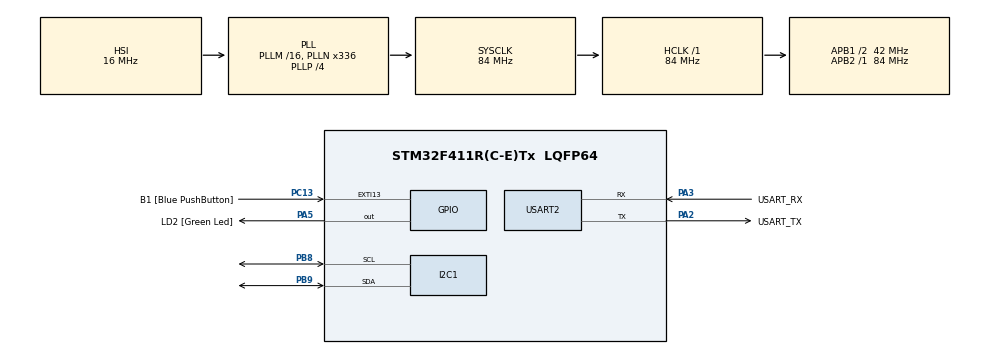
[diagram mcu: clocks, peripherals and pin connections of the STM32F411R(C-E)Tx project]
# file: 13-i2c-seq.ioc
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Mcu.Family=STM32F4
PC15-OSC32_OUT.Mode=LSE-External-Oscillator
RCC.CortexFreq_Value=84000000
NVIC.I2C1_EV_IRQn=true\:0\:0\:false\:false\:true\:true\:true
PC13-ANTI_TAMP.GPIO_Label=B1 [Blue PushButton]
PA14.GPIO_Label=TCK
PH1\ -\ OSC_OUT.Mode=HSE-External-Clock-Source
RCC.APB1CLKDivider=RCC_HCLK_DIV2
PC14-OSC32_IN.Signal=RCC_OSC32_IN
RCC.SYSCLKSource=RCC_SYSCLKSOURCE_PLLCLK
ProjectManager.StackSize=0x400
PA13.Signal=SYS_JTMS-SWDIO
PA3.Mode=Asynchronous
PH0\ -\ OSC_IN.Mode=HSE-External-Clock-Source
PH0\ -\ OSC_IN.Signal=RCC_OSC_IN
ProjectManager.TargetToolchain=STM32CubeIDE
I2C1.I2C_Mode=I2C_Fast
RCC.HCLKFreq_Value=84000000
PB9.Mode=I2C
RCC.APB2TimFreq_Value=84000000
PC15-OSC32_OUT.Signal=RCC_OSC32_OUT
RCC.AHBFreq_Value=84000000
PA5.Signal=GPIO_Output
RCC.HSE_VALUE=8000000
PH1\ -\ OSC_OUT.Signal=RCC_OSC_OUT
board=NUCLEO-F411RE
PC13-ANTI_TAMP.Signal=GPXTI13
RCC.VCOOutputFreq_Value=336000000
RCC.APB2Freq_Value=84000000
PC14-OSC32_IN.Mode=LSE-External-Oscillator
PA14.Mode=Serial_Wire
PA13.Mode=Serial_Wire
NVIC.I2C1_ER_IRQn=true\:0\:0\:false\:false\:true\:true\:true
Mcu.Name=STM32F411R(C-E)Tx
PA2.Signal=USART2_TX
PA13.GPIO_Label=TMS
RCC.FLatency-AdvancedSettings=FLASH_LATENCY_2
RCC.48MHZClocksFreq_Value=84000000
PB3.Signal=SYS_JTDO-SWO
RCC.SYSCLKFreq_VALUE=84000000
Mcu.Package=LQFP64
PB9.Signal=I2C1_SDA
PA5.GPIO_Label=LD2 [Green Led]
USART2.VirtualMode=VM_ASYNC
PC13-ANTI_TAMP.GPIO_ModeDefaultEXTI=GPIO_MODE_IT_FALLING
PA2.GPIO_Label=USART_TX
PA14.Signal=SYS_JTCK-SWCLK
ProjectManager.HeapSize=0x200
RCC.HSI_VALUE=16000000
RCC.PLLP=RCC_PLLP_DIV4
NVIC.PriorityGroup=NVIC_PRIORITYGROUP_0
PB8.Mode=I2C
RCC.PLLN=336
RCC.APB1TimFreq_Value=84000000
PA2.Mode=Asynchronous
PB8.Signal=I2C1_SCL
RCC.APB1Freq_Value=42000000
PA3.GPIO_Label=USART_RX
PA3.Signal=USART2_RX
PB3.GPIO_Label=SWO

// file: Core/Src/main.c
/* USER CODE BEGIN Header */
/**
  ******************************************************************************
  * @file           : main.c
  * @brief          : Main program body
  ******************************************************************************
  * @attention
  *
  * <h2><center>&copy; Copyright (c) 2021 STMicroelectronics.
  * All rights reserved.</center></h2>
  *
  * This software component is licensed by ST under BSD 3-Clause license,
  * the "License"; You may not use this file except in compliance with the
  * License. You may obtain a copy of the License at:
  *                        opensource.org/licenses/BSD-3-Clause
  *
  ******************************************************************************
  */
/* USER CODE END Header */
#include "main.h"

/* USER CODE BEGIN PD */
#define EEPROMAddr 0b10100000
/* USER CODE END PD */

I2C_HandleTypeDef hi2c1;

UART_HandleTypeDef huart2;

/* USER CODE BEGIN PV */
uint8_t I2CReadBuffer[4];
uint8_t I2CReadTrigger =0;

/* USER CODE END PV */

void SystemClock_Config(void);
static void MX_GPIO_Init(void);
static void MX_USART2_UART_Init(void);
static void MX_I2C1_Init(void);
/* USER CODE BEGIN PFP */
void ReadEEPROMSeq(uint16_t MemAddr,uint8_t *Rdata,uint16_t len,uint8_t *Trigger);
/* USER CODE END PFP */

int main(void)
{

  /* MCU Configuration--------------------------------------------------------*/

  /* Reset of all peripherals, Initializes the Flash interface and the Systick. */
  HAL_Init();

  /* Configure the system clock */
  SystemClock_Config();

  /* Initialize all configured peripherals */
  MX_GPIO_Init();
  MX_USART2_UART_Init();
  MX_I2C1_Init();

  /* Infinite loop */
  /* USER CODE BEGIN WHILE */
  while (1)
  {
	  ReadEEPROMSeq(0x2C, I2CReadBuffer, 4, &I2CReadTrigger);
    /* USER CODE END WHILE */

  }
}

void SystemClock_Config(void)
{
  RCC_OscInitTypeDef RCC_OscInitStruct = {0};
  RCC_ClkInitTypeDef RCC_ClkInitStruct = {0};

  /** Configure the main internal regulator output voltage
  */
  __HAL_RCC_PWR_CLK_ENABLE();
  __HAL_PWR_VOLTAGESCALING_CONFIG(PWR_REGULATOR_VOLTAGE_SCALE1);
  /** Initializes the RCC Oscillators according to the specified parameters
  * in the RCC_OscInitTypeDef structure.
  */
  RCC_OscInitStruct.OscillatorType = RCC_OSCILLATORTYPE_HSI;
  RCC_OscInitStruct.HSIState = RCC_HSI_ON;
  RCC_OscInitStruct.HSICalibrationValue = RCC_HSICALIBRATION_DEFAULT;
  RCC_OscInitStruct.PLL.PLLState = RCC_PLL_ON;
  RCC_OscInitStruct.PLL.PLLSource = RCC_PLLSOURCE_HSI;
  RCC_OscInitStruct.PLL.PLLM = 16;
  RCC_OscInitStruct.PLL.PLLN = 336;
  RCC_OscInitStruct.PLL.PLLP = RCC_PLLP_DIV4;
  RCC_OscInitStruct.PLL.PLLQ = 4;
  if (HAL_RCC_OscConfig(&RCC_OscInitStruct) != HAL_OK)
  {
    Error_Handler();
  }
  /** Initializes the CPU, AHB and APB buses clocks
  */
  RCC_ClkInitStruct.ClockType = RCC_CLOCKTYPE_HCLK|RCC_CLOCKTYPE_SYSCLK
                              |RCC_CLOCKTYPE_PCLK1|RCC_CLOCKTYPE_PCLK2;
  RCC_ClkInitStruct.SYSCLKSource = RCC_SYSCLKSOURCE_PLLCLK;
  RCC_ClkInitStruct.AHBCLKDivider = RCC_SYSCLK_DIV1;
  RCC_ClkInitStruct.APB1CLKDivider = RCC_HCLK_DIV2;
  RCC_ClkInitStruct.APB2CLKDivider = RCC_HCLK_DIV1;

  if (HAL_RCC_ClockConfig(&RCC_ClkInitStruct, FLASH_LATENCY_2) != HAL_OK)
  {
    Error_Handler();
  }
}

static void MX_I2C1_Init(void)
{

  hi2c1.Instance = I2C1;
  hi2c1.Init.ClockSpeed = 400000;
  hi2c1.Init.DutyCycle = I2C_DUTYCYCLE_2;
  hi2c1.Init.OwnAddress1 = 0;
  hi2c1.Init.AddressingMode = I2C_ADDRESSINGMODE_7BIT;
  hi2c1.Init.DualAddressMode = I2C_DUALADDRESS_DISABLE;
  hi2c1.Init.OwnAddress2 = 0;
  hi2c1.Init.GeneralCallMode = I2C_GENERALCALL_DISABLE;
  hi2c1.Init.NoStretchMode = I2C_NOSTRETCH_DISABLE;
  if (HAL_I2C_Init(&hi2c1) != HAL_OK)
  {
    Error_Handler();
  }

}

static void MX_USART2_UART_Init(void)
{

  huart2.Instance = USART2;
  huart2.Init.BaudRate = 115200;
  huart2.Init.WordLength = UART_WORDLENGTH_8B;
  huart2.Init.StopBits = UART_STOPBITS_1;
  huart2.Init.Parity = UART_PARITY_NONE;
  huart2.Init.Mode = UART_MODE_TX_RX;
  huart2.Init.HwFlowCtl = UART_HWCONTROL_NONE;
  huart2.Init.OverSampling = UART_OVERSAMPLING_16;
  if (HAL_UART_Init(&huart2) != HAL_OK)
  {
    Error_Handler();
  }

}

static void MX_GPIO_Init(void)
{
  GPIO_InitTypeDef GPIO_InitStruct = {0};

  /* GPIO Ports Clock Enable */
  __HAL_RCC_GPIOC_CLK_ENABLE();
  __HAL_RCC_GPIOH_CLK_ENABLE();
  __HAL_RCC_GPIOA_CLK_ENABLE();
  __HAL_RCC_GPIOB_CLK_ENABLE();

  /*Configure GPIO pin Output Level */
  HAL_GPIO_WritePin(LD2_GPIO_Port, LD2_Pin, GPIO_PIN_RESET);

  /*Configure GPIO pin : B1_Pin */
  GPIO_InitStruct.Pin = B1_Pin;
  GPIO_InitStruct.Mode = GPIO_MODE_IT_FALLING;
  GPIO_InitStruct.Pull = GPIO_NOPULL;
  HAL_GPIO_Init(B1_GPIO_Port, &GPIO_InitStruct);

  /*Configure GPIO pin : LD2_Pin */
  GPIO_InitStruct.Pin = LD2_Pin;
  GPIO_InitStruct.Mode = GPIO_MODE_OUTPUT_PP;
  GPIO_InitStruct.Pull = GPIO_NOPULL;
  GPIO_InitStruct.Speed = GPIO_SPEED_FREQ_LOW;
  HAL_GPIO_Init(LD2_GPIO_Port, &GPIO_InitStruct);

}

/* USER CODE BEGIN 4 */
void ReadEEPROMSeq(uint16_t MemAddr,uint8_t *Rdata,uint16_t len,uint8_t *Trigger)
{
	static enum
	{
		State_Idle,
		State_address_frame,
		State_address_frame_wait,
		State_dataFrame,
		State_dataFrame_wait
	} State = State_Idle;
	switch(State)
	{
	case State_Idle:
		if(*Trigger)
		{
			State = State_address_frame;
		}
		break;
	case State_address_frame:
	{
		static uint8_t MemoryAddress[2];
		MemoryAddress[0] = (MemAddr>>8) & 0xFF;
		MemoryAddress[1] = (MemAddr) & 0xFF;
		HAL_I2C_Master_Seq_Transmit_IT(&hi2c1, EEPROMAddr, MemoryAddress, 2, I2C_FIRST_AND_NEXT_FRAME);
		State = State_address_frame_wait;
	}

		break;
	case State_address_frame_wait:
		if(hi2c1.State == HAL_I2C_STATE_READY)
		{
			State = State_dataFrame;
		}
	break;

	case State_dataFrame:
		HAL_I2C_Master_Seq_Receive_IT(&hi2c1, EEPROMAddr, Rdata, len, I2C_LAST_FRAME);
		State = State_dataFrame_wait;
		break;
	case State_dataFrame_wait:
		if(hi2c1.State == HAL_I2C_STATE_READY)
				{
					State = State_Idle;
					*Trigger = 0;
				}
		break;
	}

}
/* USER CODE END 4 */

void Error_Handler(void)
{
  __disable_irq();
  while (1)
  {
  }
}

/************************ (C) COPYRIGHT STMicroelectronics *****END OF FILE****/
